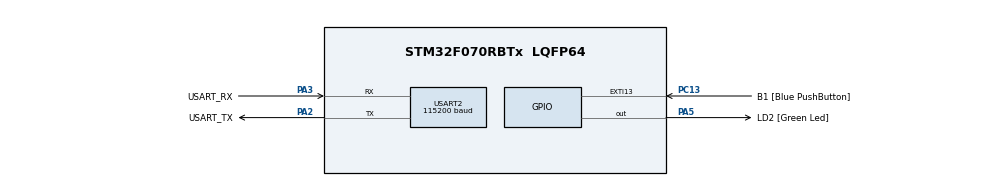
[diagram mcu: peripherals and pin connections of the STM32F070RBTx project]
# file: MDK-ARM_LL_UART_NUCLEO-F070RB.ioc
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Mcu.Family=STM32F0
Mcu.Name=STM32F070RBTx
Mcu.Package=LQFP64
NVIC.USART2_IRQn=true\:0\:0\:false\:false\:true\:true\:true
PA13.GPIO_Label=TMS
PA13.Mode=Serial_Wire
PA13.Signal=SYS_SWDIO
PA14.GPIO_Label=TCK
PA14.Mode=Serial_Wire
PA14.Signal=SYS_SWCLK
PA2.GPIO_Label=USART_TX
PA2.Mode=Asynchronous
PA2.Signal=USART2_TX
PA3.GPIO_Label=USART_RX
PA3.Mode=Asynchronous
PA3.Signal=USART2_RX
PA5.GPIO_Label=LD2 [Green Led]
PA5.Signal=GPIO_Output
PC13.GPIO_Label=B1 [Blue PushButton]
PC13.GPIO_ModeDefaultEXTI=GPIO_MODE_IT_FALLING
PC13.Signal=GPXTI13
PC14-OSC32_IN.GPIO_Label=RCC_OSC32_IN
PC14-OSC32_IN.Mode=LSE-External-Oscillator
PC14-OSC32_IN.Signal=RCC_OSC32_IN
PC15-OSC32_OUT.GPIO_Label=RCC_OSC32_OUT
PC15-OSC32_OUT.Mode=LSE-External-Oscillator
PC15-OSC32_OUT.Signal=RCC_OSC32_OUT
PF0-OSC_IN.GPIO_Label=RCC_OSC_IN
PF0-OSC_IN.Mode=HSE-External-Clock-Source
PF0-OSC_IN.Signal=RCC_OSC_IN
PF1-OSC_OUT.GPIO_Label=RCC_OSC_OUT
PF1-OSC_OUT.Signal=RCC_OSC_OUT
ProjectManager.HeapSize=0x200
ProjectManager.StackSize=0x400
ProjectManager.TargetToolchain=MDK-ARM V5.27
RCC.AHBFreq_Value=48000000
RCC.APB1Freq_Value=48000000
RCC.APB1TimFreq_Value=48000000
RCC.HCLKFreq_Value=48000000
RCC.PLLMUL=RCC_PLL_MUL6
RCC.SYSCLKFreq_VALUE=48000000
RCC.SYSCLKSource=RCC_SYSCLKSOURCE_PLLCLK
USART2.BaudRate=115200
USART2.VirtualMode-Asynchronous=VM_ASYNC
board=NUCLEO-F070RB

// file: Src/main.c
/* USER CODE BEGIN Header */
/**
  ******************************************************************************
  * @file           : main.c
  * @brief          : Main program body
  ******************************************************************************
  * @attention
  *
  * <h2><center>&copy; Copyright (c) 2020 STMicroelectronics.
  * All rights reserved.</center></h2>
  *
  * This software component is licensed by ST under BSD 3-Clause license,
  * the "License"; You may not use this file except in compliance with the
  * License. You may obtain a copy of the License at:
  *                        opensource.org/licenses/BSD-3-Clause
  *
  ******************************************************************************
  */
/* USER CODE END Header */
#include "main.h"

/* USER CODE BEGIN Includes */
#include "trice.h"
/* USER CODE END Includes */

void SystemClock_Config(void);
static void MX_GPIO_Init(void);
static void MX_USART2_UART_Init(void);

int main(void)
{
  /* USER CODE BEGIN 1 */
#ifdef ENCRYPT
    InitXteaTable();
#endif
  /* USER CODE END 1 */

  /* MCU Configuration--------------------------------------------------------*/

  /* Reset of all peripherals, Initializes the Flash interface and the Systick. */

  LL_APB1_GRP2_EnableClock(LL_APB1_GRP2_PERIPH_SYSCFG);
  LL_APB1_GRP1_EnableClock(LL_APB1_GRP1_PERIPH_PWR);

  /* System interrupt init*/

  /* Configure the system clock */
  SystemClock_Config();

  /* USER CODE BEGIN SysInit */
    SysTick->CTRL |= SysTick_CTRL_TICKINT_Msk; // enable SysTick interrupt
  /* USER CODE END SysInit */

  /* Initialize all configured peripherals */
  MX_GPIO_Init();
  MX_USART2_UART_Init();
  /* USER CODE BEGIN 2 */
    LL_USART_EnableIT_RXNE(USART2); // enable UART2 interrupt
  /* USER CODE END 2 */

  /* Infinite loop */
  /* USER CODE BEGIN WHILE */
    TRICE16_1( Id(38088), "TIM:timing      message, SysTick is %6d\n", SYSTICKVAL16 );
    TRICE0( Id( 3149), "att:MDK-ARM_LL_UART_NUCLEO-F070RB\n" );
    TRICE16_1( Id( 2398), "TIM:timing      message, SysTick is %6d\n", SYSTICKVAL16 );
    TRICE16_1( Id(50628), "TIM:timing      message, SysTick is %6d\n", SYSTICKVAL16 );
    TRICE16_1( Id(32978), "TIM:timing      message, SysTick is %6d\n", SYSTICKVAL16 );
    TRICE16_1( Id( 1566), "TIM:timing      message, SysTick is %6d\n", SYSTICKVAL16 );
    while (1)
    {
      //////////////////////////////////////////////////
      // demo trices
      //
      static uint32_t ms_1 = 0;
      if( ms >= ms_1 + 1000 ){ // every sec
          static int index = 0;
          triceCheckSet(index++%20);
          TRICE32_1( Id(31392), "time:ms = %d\n", ms );
          LL_GPIO_TogglePin(LD2_GPIO_Port, LD2_Pin);
          ms_1 = ms;
      }
      //
      //////////////////////////////////////////////////

      //////////////////////////////////////////////////
      // needed background activity
      //
        #ifdef LL_INTERFACE_NO_INTERRUPTS
        triceServe();
        #endif
      //
      //////////////////////////////////////////////////
    /* USER CODE END WHILE */

  }
}

void SystemClock_Config(void)
{
  LL_FLASH_SetLatency(LL_FLASH_LATENCY_1);
  while(LL_FLASH_GetLatency() != LL_FLASH_LATENCY_1)
  {
  }
  LL_RCC_HSI_Enable();

   /* Wait till HSI is ready */
  while(LL_RCC_HSI_IsReady() != 1)
  {

  }
  LL_RCC_HSI_SetCalibTrimming(16);
  LL_RCC_PLL_ConfigDomain_SYS(LL_RCC_PLLSOURCE_HSI, LL_RCC_PLL_MUL_6, LL_RCC_PREDIV_DIV_1);
  LL_RCC_PLL_Enable();

   /* Wait till PLL is ready */
  while(LL_RCC_PLL_IsReady() != 1)
  {

  }
  LL_RCC_SetAHBPrescaler(LL_RCC_SYSCLK_DIV_1);
  LL_RCC_SetAPB1Prescaler(LL_RCC_APB1_DIV_1);
  LL_RCC_SetSysClkSource(LL_RCC_SYS_CLKSOURCE_PLL);

   /* Wait till System clock is ready */
  while(LL_RCC_GetSysClkSource() != LL_RCC_SYS_CLKSOURCE_STATUS_PLL)
  {

  }
  LL_Init1msTick(48000000);
  LL_SetSystemCoreClock(48000000);
}

static void MX_USART2_UART_Init(void)
{

  LL_USART_InitTypeDef USART_InitStruct = {0};

  LL_GPIO_InitTypeDef GPIO_InitStruct = {0};

  /* Peripheral clock enable */
  LL_APB1_GRP1_EnableClock(LL_APB1_GRP1_PERIPH_USART2);

  LL_AHB1_GRP1_EnableClock(LL_AHB1_GRP1_PERIPH_GPIOA);
  /**USART2 GPIO Configuration
  PA2   ------> USART2_TX
  PA3   ------> USART2_RX
  */
  GPIO_InitStruct.Pin = USART_TX_Pin;
  GPIO_InitStruct.Mode = LL_GPIO_MODE_ALTERNATE;
  GPIO_InitStruct.Speed = LL_GPIO_SPEED_FREQ_HIGH;
  GPIO_InitStruct.OutputType = LL_GPIO_OUTPUT_PUSHPULL;
  GPIO_InitStruct.Pull = LL_GPIO_PULL_NO;
  GPIO_InitStruct.Alternate = LL_GPIO_AF_1;
  LL_GPIO_Init(USART_TX_GPIO_Port, &GPIO_InitStruct);

  GPIO_InitStruct.Pin = USART_RX_Pin;
  GPIO_InitStruct.Mode = LL_GPIO_MODE_ALTERNATE;
  GPIO_InitStruct.Speed = LL_GPIO_SPEED_FREQ_HIGH;
  GPIO_InitStruct.OutputType = LL_GPIO_OUTPUT_PUSHPULL;
  GPIO_InitStruct.Pull = LL_GPIO_PULL_NO;
  GPIO_InitStruct.Alternate = LL_GPIO_AF_1;
  LL_GPIO_Init(USART_RX_GPIO_Port, &GPIO_InitStruct);

  /* USART2 interrupt Init */
  NVIC_SetPriority(USART2_IRQn, 0);
  NVIC_EnableIRQ(USART2_IRQn);

  USART_InitStruct.BaudRate = 115200;
  USART_InitStruct.DataWidth = LL_USART_DATAWIDTH_8B;
  USART_InitStruct.StopBits = LL_USART_STOPBITS_1;
  USART_InitStruct.Parity = LL_USART_PARITY_NONE;
  USART_InitStruct.TransferDirection = LL_USART_DIRECTION_TX_RX;
  USART_InitStruct.HardwareFlowControl = LL_USART_HWCONTROL_NONE;
  USART_InitStruct.OverSampling = LL_USART_OVERSAMPLING_16;
  LL_USART_Init(USART2, &USART_InitStruct);
  LL_USART_DisableIT_CTS(USART2);
  LL_USART_ConfigAsyncMode(USART2);
  LL_USART_Enable(USART2);

}

static void MX_GPIO_Init(void)
{
  LL_EXTI_InitTypeDef EXTI_InitStruct = {0};
  LL_GPIO_InitTypeDef GPIO_InitStruct = {0};

  /* GPIO Ports Clock Enable */
  LL_AHB1_GRP1_EnableClock(LL_AHB1_GRP1_PERIPH_GPIOC);
  LL_AHB1_GRP1_EnableClock(LL_AHB1_GRP1_PERIPH_GPIOF);
  LL_AHB1_GRP1_EnableClock(LL_AHB1_GRP1_PERIPH_GPIOA);

  /**/
  LL_GPIO_ResetOutputPin(LD2_GPIO_Port, LD2_Pin);

  /**/
  LL_SYSCFG_SetEXTISource(LL_SYSCFG_EXTI_PORTC, LL_SYSCFG_EXTI_LINE13);

  /**/
  LL_GPIO_SetPinPull(B1_GPIO_Port, B1_Pin, LL_GPIO_PULL_NO);

  /**/
  LL_GPIO_SetPinMode(B1_GPIO_Port, B1_Pin, LL_GPIO_MODE_INPUT);

  /**/
  EXTI_InitStruct.Line_0_31 = LL_EXTI_LINE_13;
  EXTI_InitStruct.LineCommand = ENABLE;
  EXTI_InitStruct.Mode = LL_EXTI_MODE_IT;
  EXTI_InitStruct.Trigger = LL_EXTI_TRIGGER_FALLING;
  LL_EXTI_Init(&EXTI_InitStruct);

  /**/
  GPIO_InitStruct.Pin = LD2_Pin;
  GPIO_InitStruct.Mode = LL_GPIO_MODE_OUTPUT;
  GPIO_InitStruct.Speed = LL_GPIO_SPEED_FREQ_LOW;
  GPIO_InitStruct.OutputType = LL_GPIO_OUTPUT_PUSHPULL;
  GPIO_InitStruct.Pull = LL_GPIO_PULL_NO;
  LL_GPIO_Init(LD2_GPIO_Port, &GPIO_InitStruct);

}

void Error_Handler(void)
{
}

/************************ (C) COPYRIGHT STMicroelectronics *****END OF FILE****/
